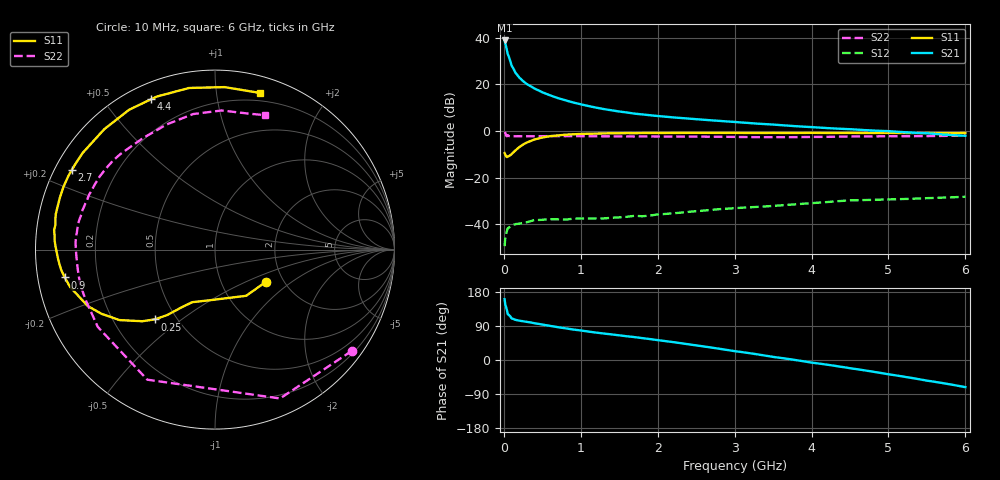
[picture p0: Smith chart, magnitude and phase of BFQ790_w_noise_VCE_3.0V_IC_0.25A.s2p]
! Infineon Technologies  Discrete & RF Semiconductors
! BFQ790
! VCE =  3.0 V,  IC = 0.25 A
! Common Emitter S-Parameters:  May 2015
# GHz  S  MA  R  50
!  f  S11  S21  S12  S22
! GHz  MAG  ANG  MAG  ANG  MAG  ANG  MAG  ANG
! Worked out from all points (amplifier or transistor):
!   77 points, 10 MHz to 6 GHz, reference 50 ohm
!   highest |S21| = 38.8 dB at 10 MHz (marker M1)
!   |S21| within 3 dB of that: start of sweep to 32.11 MHz
!   unconditionally stable (mu >= 1): 223.8 MHz to end of sweep
!   at 130 MHz: K = 0.75, MSG = 33.3 dB, |S12| = -40.2 dB
!   at 2.2 GHz: K = 1.30, MAG = 17.3 dB, |S12| = -35.3 dB
!   at 6 GHz: K = 1.11, MAG = 11.1 dB, |S12| = -28.2 dB
!   lowest NFmin = 3.72 dB at 1.5 GHz
!   S11 on the Smith chart (normalised r, x): 10 MHz: 1.63, -0.66; 250 MHz: 0.38, -0.40; 900 MHz: 0.08, -0.09; 2.7 GHz: 0.05, +0.26; 4.4 GHz: 0.07, +0.66; 6 GHz: 0.13, +1.32
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0.01  0.3361 -32.2  87.47 160.4  0.0034 70.8  0.9486 -36.5
0.02  0.3105 -56.0  75.25 144.7  0.0055 54.8  0.9051 -66.4
0.05  0.2823 -94.6  45.13 121.1  0.0082 34.9  0.817 -117.5
0.1  0.3195 -113.5  25.43 109.8  0.0093 19.2  0.7823 -146.6
0.15  0.3828 -121.1  17.92 105.9  0.0101 21.2  0.7733 -158.6
0.2  0.451 -126.1  14.08 103.9  0.0103 20.3  0.7752 -164.9
0.25  0.5138 -130.8  11.76 102.2  0.0108 19.0  0.7735 -169.1
0.3  0.5684 -135.4  10.13 100.6  0.0111 17.0  0.7724 -172.3
0.4  0.6616 -143.6  8.112 97.0  0.0124 14.3  0.7731 -176.9
0.5  0.7257 -150.4  6.776 93.5  0.0125 11.6  0.7754 179.8
0.6  0.7757 -156.1  5.841 90.1  0.0129 13.9  0.778 177.0
0.7  0.804 -161.3  5.102 86.7  0.0128 15.7  0.7776 174.7
0.9  0.8513 -169.5  4.096 80.5  0.0132 9.6  0.7756 171.1
1.1  0.8749 -176.2  3.433 75.0  0.0134 14.8  0.774 167.6
1.5  0.8975 174.8  2.623 65.1  0.0141 14.5  0.7678 161.9
2.1  0.9095 163.6  2.029 49.9  0.0167 15.2  0.762 153.1
2.7  0.9127 150.8  1.695 32.8  0.0204 10.7  0.7552 141.3
3.1  0.91 141.7  1.521 20.7  0.0227 6.5  0.7444 132.1
4.1  0.9114 119.4  1.185 -9.5  0.0292 -8.2  0.7483 108.6
4.4  0.9101 112.9  1.113 -18.4  0.0318 -14.1  0.7589 101.5
5.1  0.9075 96.6  0.969 -40.7  0.0345 -28.6  0.7747 85.2
6  0.9082 73.9  0.791 -71.7  0.039 -49.5  0.7988 69.7
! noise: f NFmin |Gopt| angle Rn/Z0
0.45  6.14  0.5  143  0.6
0.9  4.32  0.63  168  0.19
1.5  3.72  0.73  -171  0.1
1.8  3.74  0.74  -167  0.12
2.6  3.94  0.76  -151  0.32
3.5  4.4  0.85  -134  0.67
